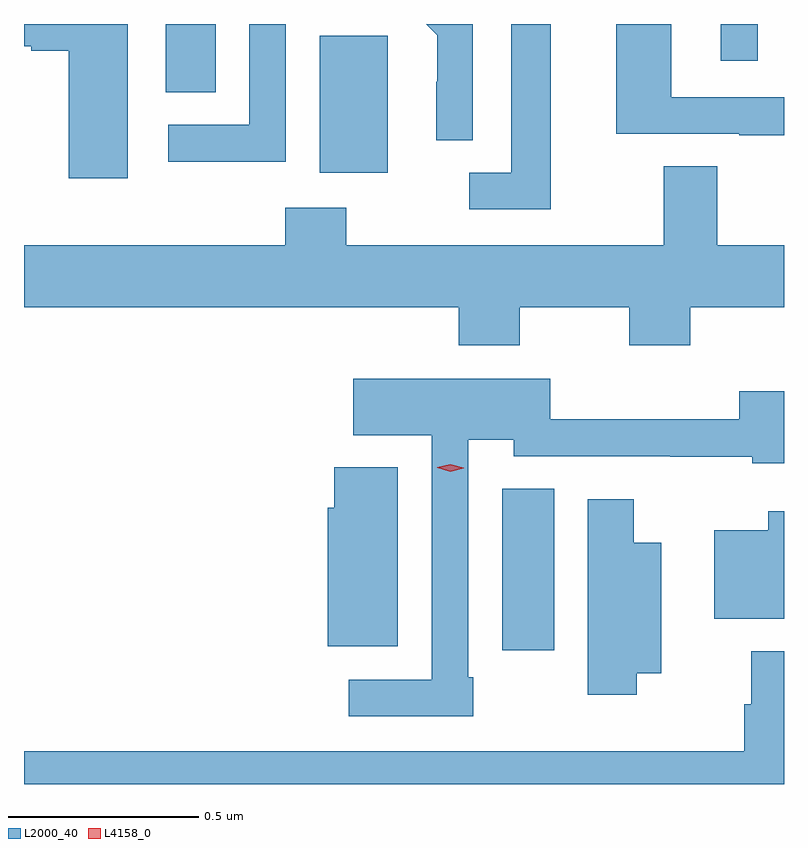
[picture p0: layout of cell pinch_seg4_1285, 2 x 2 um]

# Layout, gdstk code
import gdstk
lib = gdstk.Library(unit=1e-6, precision=1e-09)
def R(c, l, rs):  # rectangles x0, y0, x1, y1
    for r in rs: c.add(gdstk.rectangle(r[:2], r[2:], *l))
def P(c, l, *ps):  # polygons
    for p in ps: c.add(gdstk.Polygon(p, *l))
L2000_40 = (2000, 40)
L4158_0 = (4158, 0)

pinch_seg4_1285 = lib.new_cell('pinch_seg4_1285')
R(pinch_seg4_1285, L2000_40, [(238.841,773.274,238.978,773.699), (238.361,774.53,238.54,774.891), (237.956,774.742,238.087,774.922), (239.417,774.825,239.514,774.922)])
P(pinch_seg4_1285, L2000_40, [(238.969,774.922),(238.865,774.922),(238.865,774.531),(238.755,774.531),(238.755,774.435),(238.969,774.435)],
  [(239.583,774.729),(239.286,774.729),(239.286,774.922),(239.141,774.922),(239.141,774.633),(239.465,774.633),(239.465,774.629),(239.583,774.629)],
  [(237.856,774.922),(237.583,774.922),(237.583,774.863),(237.602,774.863),(237.602,774.851),(237.701,774.851),(237.701,774.516),(237.856,774.516)],
  [(238.272,774.922),(238.176,774.922),(238.176,774.657),(237.963,774.657),(237.963,774.559),(238.272,774.559)],
  [(238.764,774.922),(238.641,774.922),(238.67,774.893),(238.67,774.77),(238.668,774.77),(238.668,774.616),(238.764,774.616)],
  [(238.887,774.176),(239.176,774.176),(239.176,774.077),(239.336,774.077),(239.336,774.176),(239.583,774.176),(239.583,774.34),(239.407,774.34),(239.407,774.548),(239.267,774.548),(239.267,774.34),(238.431,774.34),(238.431,774.439),(238.271,774.439),(238.271,774.34),(237.583,774.34),(237.583,774.176),(238.727,774.176),(238.727,774.077),(238.887,774.077)],
  [(238.765,773.203),(238.752,773.203),(238.752,773.828),(238.872,773.828),(238.872,773.784),(239.284,773.784),(239.284,773.783),(239.499,773.783),(239.499,773.766),(239.583,773.766),(239.583,773.956),(239.465,773.956),(239.465,773.882),(238.968,773.882),(238.968,773.989),(238.449,773.989),(238.449,773.84),(238.656,773.84),(238.656,773.196),(238.437,773.196),(238.437,773.1),(238.765,773.1)],
  [(238.567,773.755),(238.4,773.755),(238.4,773.649),(238.382,773.649),(238.382,773.285),(238.567,773.285)],
  [(239.196,773.213),(239.26,773.213),(239.26,773.557),(239.188,773.557),(239.188,773.671),(239.066,773.671),(239.066,773.157),(239.196,773.157)],
  [(239.583,773.64),(239.541,773.64),(239.541,773.59),(239.399,773.59),(239.399,773.357),(239.583,773.357)],
  [(239.583,773.272),(239.497,773.272),(239.497,773.132),(239.479,773.132),(239.479,773.008),(237.583,773.008),(237.583,772.922),(239.583,772.922)])
P(pinch_seg4_1285, L4158_0, [(238.705,773.744),(238.67,773.754),(238.67,773.755),(238.67,773.755),(238.705,773.764),(238.74,773.754),(238.74,773.753),(238.74,773.753)])

lib.write_gds('pinch_seg4_1285.gds')
